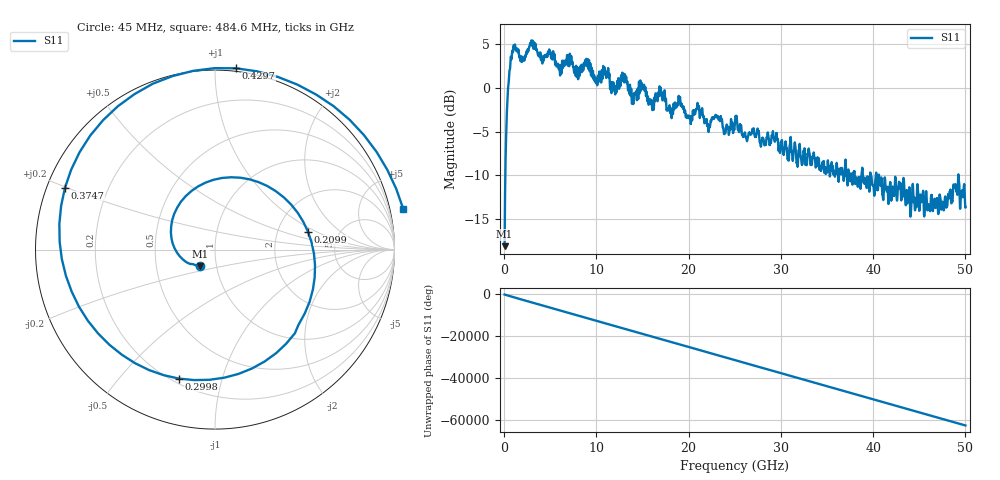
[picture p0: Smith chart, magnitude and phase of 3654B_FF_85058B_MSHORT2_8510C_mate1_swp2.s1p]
!Created with skrf (http://scikit-rf.org).
# Hz S RI R 50.0
!freq ReS11 ImS11
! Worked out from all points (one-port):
!   10001 points, 45 MHz to 50 GHz, reference 50 ohm
!   lowest |S11| = -18.1 dB at 45 MHz (marker M1), VSWR 1.28, Z = 41.8 - j7.93 ohm
!   |S11| at or under -10 dB: 38.88 GHz to 39.66 GHz (783.1 MHz wide, 1.99 % of centre); 40.64 GHz to 49.22 GHz (8.578 GHz wide, 19.1 % of centre); 49.24 GHz to end of sweep (the widest 3 of 15)
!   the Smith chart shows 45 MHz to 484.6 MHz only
!   S11 on the Smith chart (normalised r, x): 45 MHz: 0.84, -0.16; 209.9 MHz: 2.98, +0.82; 299.8 MHz: 0.23, -0.73; 374.7 MHz: 0.05, +0.20; 429.7 MHz: -0.02, +1.12; 484.6 MHz: -2.79, +8.40
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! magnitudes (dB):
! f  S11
! 45 MHz  -18.1
! 209.9 MHz  -5.6
! 299.8 MHz  -2.5
! 374.7 MHz  -0.9
! 429.7 MHz  0.1
! 484.6 MHz  0.6
! 794.3 MHz  3.3
! 1.174 GHz  5.0
! 1.983 GHz  3.6
! 3.027 GHz  4.9
! 6.289 GHz  3.1
! 8.977 GHz  2.5
! 9.896 GHz  1.1
! 12.53 GHz  1.0
! 13.93 GHz  -0.8
! 14.97 GHz  -0.1
! 16 GHz  -1.5
! 16.9 GHz  -0.3
! 17.94 GHz  -2.1
! 18.78 GHz  -1.7
! 22.1 GHz  -4.2
! 25.02 GHz  -3.8
! 31.27 GHz  -8.3
! 37.51 GHz  -10.7
! 43.76 GHz  -12.7
! 47.54 GHz  -13.3
! 49.1 GHz  -11.9
! 50 GHz  -13.7
